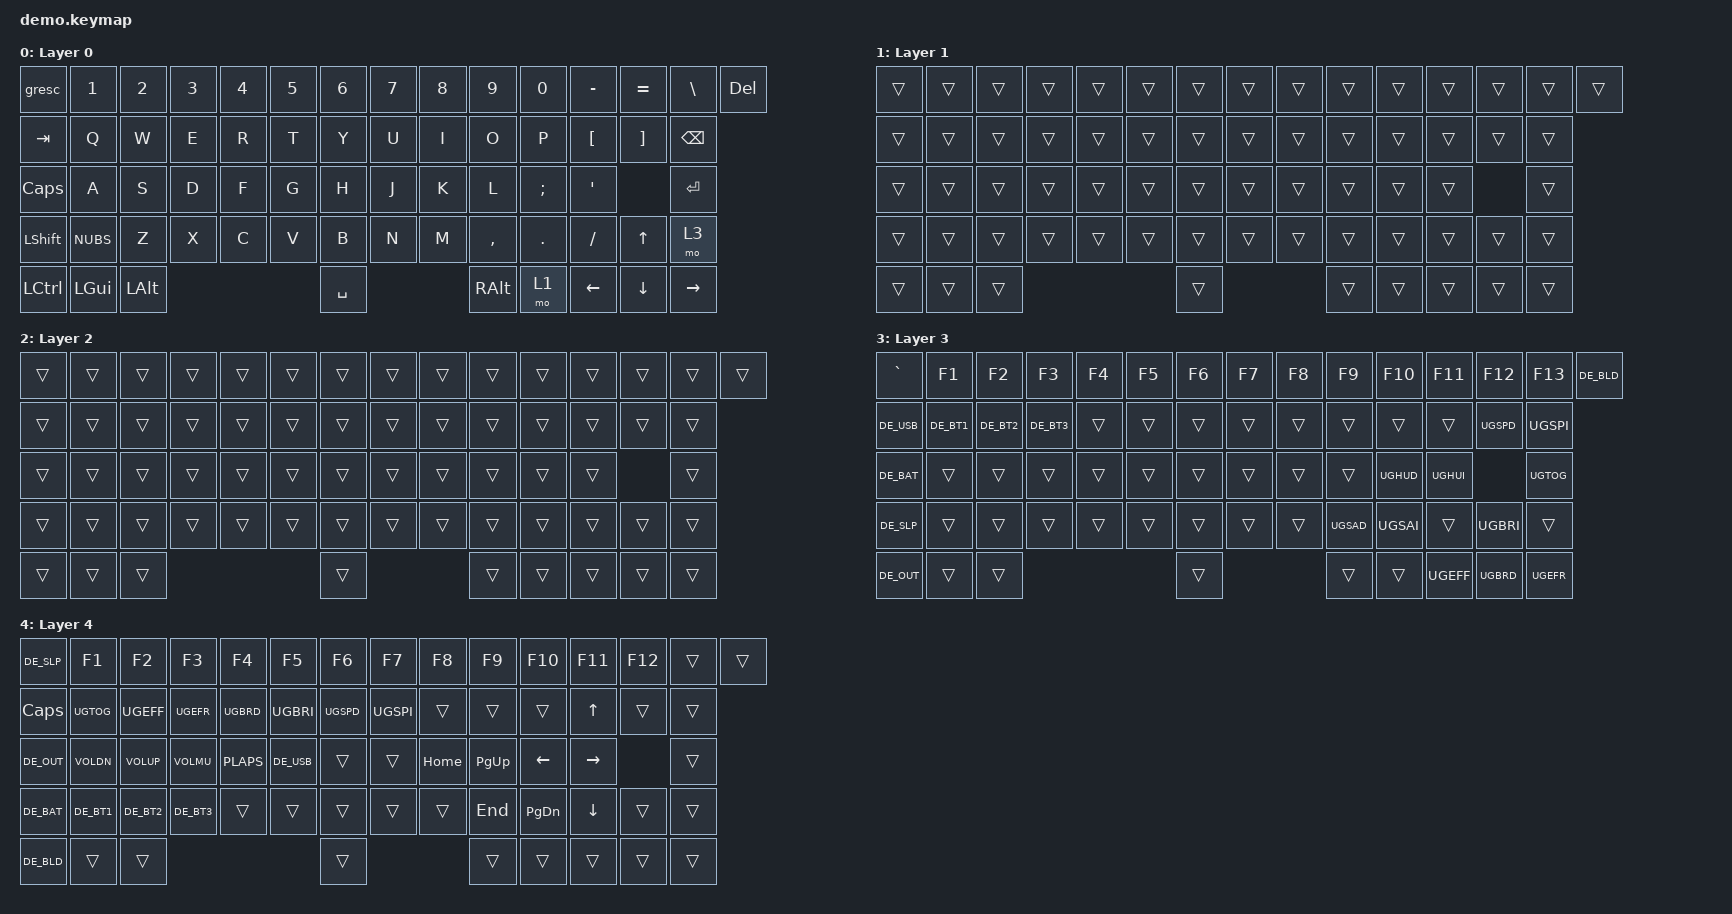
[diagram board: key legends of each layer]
/*
 * Copyright (c) 2026 DEKB
 * SPDX-License-Identifier: MIT
 */

#include "../common.keymap"

#define VOLUP kp C_VOL_UP
#define VOLDN kp C_VOL_DN
#define VOLMU kp C_MUTE
#define PLAPS kp C_PLAY_PAUSE

/ {
    keymap {
        compatible = "zmk,keymap";

        base {
            label = "Layer 0";
            bindings = <
&gresc    &kp N1   &kp N2  &kp N3  &kp N4  &kp N5  &kp N6  &kp N7  &kp N8   &kp N9    &kp N0   &kp MINUS &kp EQUAL &kp BSLH  &kp DEL 
&kp TAB   &kp Q    &kp W   &kp E   &kp R   &kp T   &kp Y   &kp U   &kp I    &kp O     &kp P    &kp LBKT  &kp RBKT  &kp BSPC  
&kp CAPS  &kp A    &kp S   &kp D   &kp F   &kp G   &kp H   &kp J   &kp K    &kp L     &kp SEMI &kp SQT             &kp ENTER
&kp LSHFT &kp NUBS &kp Z   &kp X   &kp C   &kp V   &kp B   &kp N   &kp M    &kp COMMA &kp DOT  &kp FSLH  &kp UP    &mo 3
&kp LCTRL &kp LGUI &kp LALT                        &kp SPACE                &kp RALT  &mo 1    &kp LEFT  &kp DOWN  &kp RIGHT
            >;
        };

        layer_1 {
            label = "Layer 1";
            bindings = < 
&trans  &trans  &trans  &trans &trans  &trans  &trans  &trans  &trans  &trans  &trans  &trans  &trans  &trans  &trans
&trans  &trans  &trans  &trans &trans  &trans  &trans  &trans  &trans  &trans  &trans  &trans  &trans  &trans
&trans  &trans  &trans  &trans &trans  &trans  &trans  &trans  &trans  &trans  &trans  &trans          &trans
&trans  &trans  &trans  &trans &trans  &trans  &trans  &trans  &trans  &trans  &trans  &trans  &trans  &trans
&trans  &trans  &trans                         &trans                  &trans  &trans  &trans  &trans  &trans
            >;
        };

        layer_2 {
            label = "Layer 2";
            bindings = <
&trans  &trans  &trans  &trans &trans  &trans  &trans  &trans  &trans  &trans  &trans  &trans  &trans  &trans  &trans
&trans  &trans  &trans  &trans &trans  &trans  &trans  &trans  &trans  &trans  &trans  &trans  &trans  &trans
&trans  &trans  &trans  &trans &trans  &trans  &trans  &trans  &trans  &trans  &trans  &trans          &trans
&trans  &trans  &trans  &trans &trans  &trans  &trans  &trans  &trans  &trans  &trans  &trans  &trans  &trans
&trans  &trans  &trans                         &trans                  &trans  &trans  &trans  &trans  &trans
            >;
        };

        layer_3 {
            label = "Layer 3";
            bindings = < 
&kp GRAVE &kp F1   &kp F2  &kp F3  &kp F4  &kp F5  &kp F6  &kp F7  &kp F8  &kp F9  &kp F10 &kp F11 &kp F12 &kp F13 &DE_BLD
&DE_USB   &DE_BT1  &DE_BT2 &DE_BT3 &trans  &trans  &trans  &trans  &trans  &trans  &trans  &trans  &UGSPD  &UGSPI
&DE_BAT   &trans   &trans  &trans  &trans  &trans  &trans  &trans  &trans  &trans  &UGHUD  &UGHUI          &UGTOG
&DE_SLP   &trans   &trans  &trans  &trans  &trans  &trans  &trans  &trans  &UGSAD  &UGSAI  &trans  &UGBRI  &trans
&DE_OUT   &trans   &trans                          &trans                  &trans  &trans  &UGEFF  &UGBRD  &UGEFR
            >;
        };

        layer_4 {
            label = "Layer 4";
            bindings = < 
&DE_SLP   &kp F1   &kp F2  &kp F3  &kp F4  &kp F5  &kp F6  &kp F7  &kp F8   &kp F9    &kp F10   &kp F11   &kp F12 &trans &trans
&kp CAPS  &UGTOG   &UGEFF  &UGEFR  &UGBRD  &UGBRI  &UGSPD  &UGSPI  &trans   &trans    &trans    &kp UP    &trans  &trans
&DE_OUT   &VOLDN   &VOLUP  &VOLMU  &PLAPS  &DE_USB &trans  &trans  &kp HOME &kp PG_UP &kp LEFT  &kp RIGHT         &trans
&DE_BAT   &DE_BT1  &DE_BT2 &DE_BT3 &trans  &trans  &trans  &trans  &trans   &kp END   &kp PG_DN &kp DOWN  &trans  &trans
&DE_BLD   &trans   &trans                          &trans                   &trans    &trans    &trans    &trans  &trans
            >;
        };
    };
};
